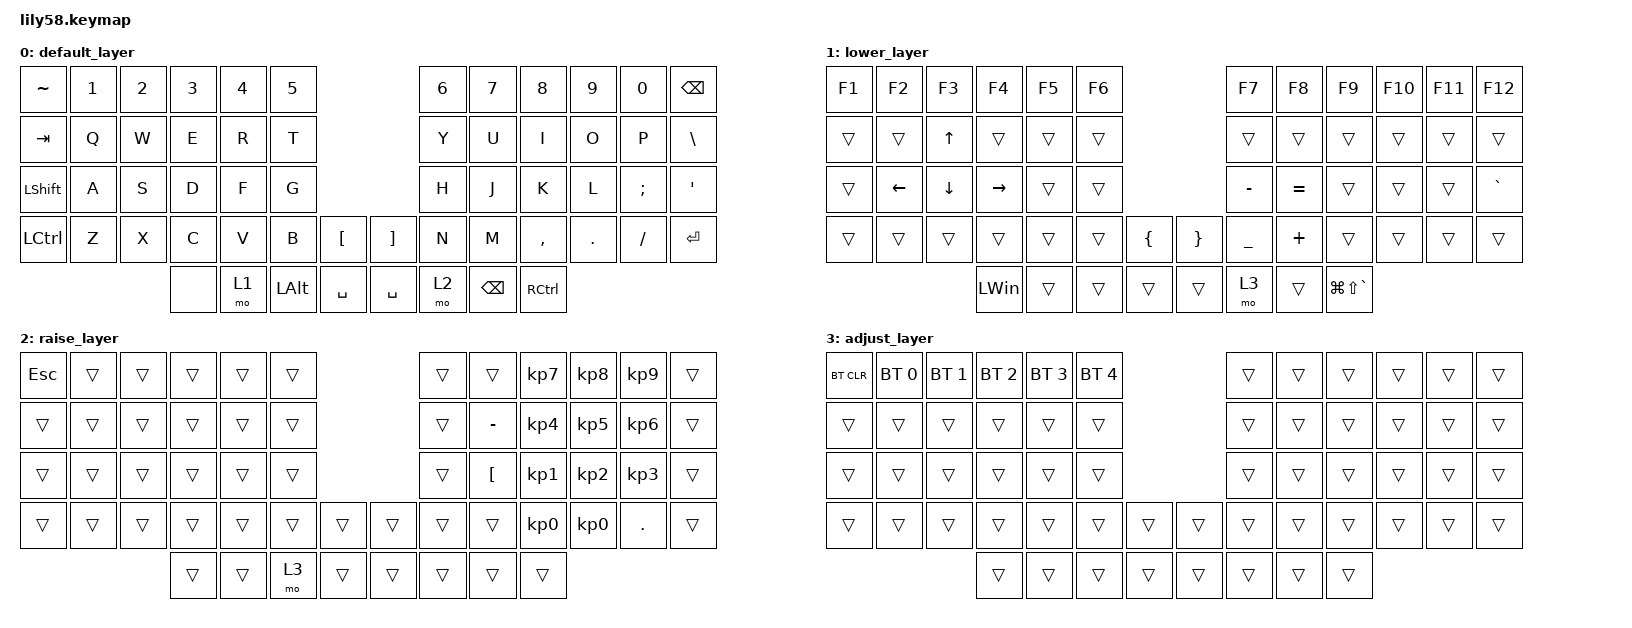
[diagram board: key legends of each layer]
#include <behaviors.dtsi>
#include <dt-bindings/zmk/bt.h>
#include <dt-bindings/zmk/keys.h>

/ {
    keymap {
        compatible = "zmk,keymap";

        default_layer {
            // ,-----------------------------------------.                    ,-----------------------------------------.
            // |  `   |   1  |   2  |   3  |   4  |   5  |                    |   6  |   7  |   8  |   9  |   0  | Bspc |
            // |------+------+------+------+------+------|                    |------+------+------+------+------+------|
            // | Tab  |   Q  |   W  |   E  |   R  |   T  |                    |   Y  |   U  |   I  |   O  |   P  |  \   |
            // |------+------+------+------+------+------|                    |------+------+------+------+------+------|
            // | Esc  |   A  |   S  |   D  |   F  |   G  |                    |   H  |   J  |   K  |   L  |   ;  |  '   |
            // |------+------+------+------+------+------+-------.    ,-------+------+------+------+------+------+------|
            // |Shift |   Z  |   X  |   C  |   V  |   B  |  [   |    |   ]   |   N  |   M  |   ,  |   .  |   /  |Shift |
            // `-----------------------------------------+------'    `------+-----------------------------------------'
            //                           | Alt  | GUI  |Lower | Spc  |    |Enter |Raise | Bspc | Ctrl |
            //                           `---------------------------'    '---------------------------'

            bindings = <
&kp TILDE       &kp N1  &kp N2  &kp N3        &kp N4  &kp N5                                &kp N6  &kp N7    &kp N8     &kp N9   &kp N0    &kp BSPC
&kp TAB         &kp Q   &kp W   &kp E         &kp R   &kp T                                 &kp Y   &kp U     &kp I      &kp O    &kp P     &kp BSLH
&kp LEFT_SHIFT  &kp A   &kp S   &kp D         &kp F   &kp G                                 &kp H   &kp J     &kp K      &kp L    &kp SEMI  &kp SQT
&kp LCTRL       &kp Z   &kp X   &kp C         &kp V   &kp B         &kp LBKT     &kp RBKT   &kp N   &kp M     &kp COMMA  &kp DOT  &kp FSLH  &kp ENTER
                                &none         &mo 1   &kp LEFT_ALT  &kp SPACE    &kp SPACE  &mo 2   &kp BSPC  &kp RCTRL
            >;
        };

        lower_layer {
            // ,-----------------------------------------.                    ,-----------------------------------------.
            // |  F1  |  F2  |  F3  |  F4  |  F5  |  F6  |                    |  F7  |  F8  |  F9  | F10  | F11  | F12  |
            // |------+------+------+------+------+------|                    |------+------+------+------+------+------|
            // |      |      |      |      |      |      |                    |      |      |      |      |      |      |
            // |------+------+------+------+------+------|                    |------+------+------+------+------+------|
            // |      |      |      |      |      |      |                    | Left | Down |  Up  | Right|      |      |
            // |------+------+------+------+------+------+-------.    ,-------+------+------+------+------+------+------|
            // |      |      |      |      |      |      |      |    |       |      |      |      |      |      |      |
            // `-----------------------------------------+------'    `------+-----------------------------------------'
            //                           |      |      |      |      |    |      |Adjust|      |      |
            //                           `---------------------------'    '---------------------------'

            bindings = <
&kp F1  &kp F2          &kp F3          &kp F4           &kp F5  &kp F6                    &kp F7    &kp F8    &kp F9  &kp F10    &kp F11  &kp F12
&trans  &trans          &kp UP_ARROW    &trans           &trans  &trans                    &trans    &trans    &trans  &trans     &trans   &trans
&trans  &kp LEFT_ARROW  &kp DOWN_ARROW  &kp RIGHT_ARROW  &trans  &trans                    &kp MINUS  &kp EQUAL  &trans  &trans     &trans   &kp GRAVE
&trans  &trans          &trans          &trans           &trans  &trans  &kp LBRC  &kp RBRC  &kp UNDER  &kp PLUS   &trans  &trans     &trans   &trans
                                        &kp LEFT_WIN     &trans  &trans  &trans    &trans  &mo 3     &trans    &kp LG(LS(GRAVE))
            >;
        };

        raise_layer {
            // ,-----------------------------------------.                    ,-----------------------------------------.
            // |      |      |      |      |      |      |                    |      |      |      |      |      |      |
            // |------+------+------+------+------+------|                    |------+------+------+------+------+------|
            // |      |      |      |      |      |      |                    |      |  -   |  =   |      |      |      |
            // |------+------+------+------+------+------|                    |------+------+------+------+------+------|
            // |      |      |      |      |      |      |                    |      |  [   |  ]   |      |      |      |
            // |------+------+------+------+------+------+-------.    ,-------+------+------+------+------+------+------|
            // |      |      |      |      |      |      |      |    |       |      |      |      |      |      |      |
            // `-----------------------------------------+------'    `------+-----------------------------------------'
            //                           |      |      |Adjust|      |    |      |      |      |      |
            //                           `---------------------------'    '---------------------------'

            bindings = <
&kp ESCAPE  &trans  &trans  &trans  &trans  &trans                    &trans  &trans     &kp KP_NUMBER_7  &kp KP_NUMBER_8  &kp KP_NUMBER_9  &trans
&trans      &trans  &trans  &trans  &trans  &trans                    &trans  &kp MINUS  &kp KP_NUMBER_4  &kp KP_NUMBER_5  &kp KP_NUMBER_6  &trans
&trans      &trans  &trans  &trans  &trans  &trans                    &trans  &kp LBKT   &kp KP_NUMBER_1  &kp KP_NUMBER_2  &kp KP_NUMBER_3  &trans
&trans      &trans  &trans  &trans  &trans  &trans  &trans    &trans  &trans  &trans     &kp KP_NUMBER_0  &kp KP_NUMBER_0  &kp PERIOD       &trans
                            &trans  &trans  &mo 3   &trans    &trans  &trans  &trans     &trans
            >;
        };

        adjust_layer {
            // ,-----------------------------------------.                    ,-----------------------------------------.
            // |BT CLR| BT 0 | BT 1 | BT 2 | BT 3 | BT 4 |                    |      |      |      |      |      |      |
            // |------+------+------+------+------+------|                    |------+------+------+------+------+------|
            // |      |      |      |      |      |      |                    |      |      |      |      |      |      |
            // |------+------+------+------+------+------|                    |------+------+------+------+------+------|
            // |      |      |      |      |      |      |                    |      |      |      |      |      |      |
            // |------+------+------+------+------+------+-------.    ,-------+------+------+------+------+------+------|
            // |      |      |      |      |      |      |      |    |       |      |      |      |      |      |      |
            // `-----------------------------------------+------'    `------+-----------------------------------------'
            //                           |      |      |      |      |    |      |      |      |      |
            //                           `---------------------------'    '---------------------------'

            bindings = <
&bt BT_CLR  &bt BT_SEL 0  &bt BT_SEL 1  &bt BT_SEL 2  &bt BT_SEL 3  &bt BT_SEL 4                    &trans  &trans  &trans  &trans  &trans  &trans
&trans      &trans        &trans        &trans        &trans        &trans                          &trans  &trans  &trans  &trans  &trans  &trans
&trans      &trans        &trans        &trans        &trans        &trans                          &trans  &trans  &trans  &trans  &trans  &trans
&trans      &trans        &trans        &trans        &trans        &trans        &trans    &trans  &trans  &trans  &trans  &trans  &trans  &trans
                                        &trans        &trans        &trans        &trans    &trans  &trans  &trans  &trans
            >;
        };
    };
};
